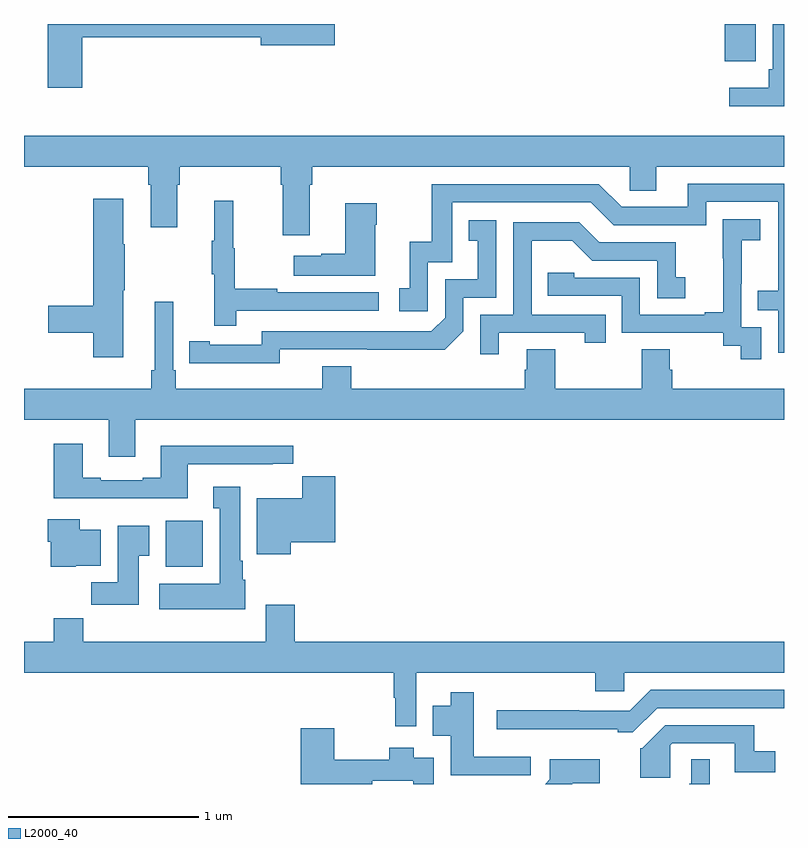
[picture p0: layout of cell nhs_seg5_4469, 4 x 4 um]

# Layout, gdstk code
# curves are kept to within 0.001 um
import gdstk
lib = gdstk.Library(unit=1e-6, precision=1e-09)
def R(c, l, rs):  # rectangles x0, y0, x1, y1
    for r in rs: c.add(gdstk.rectangle(r[:2], r[2:], *l))
def P(c, l, *ps):  # polygons
    for p in ps: c.add(gdstk.Polygon(p, *l))
L2000_40 = (2000, 40)

nhs_seg5_4469 = lib.new_cell('nhs_seg5_4469')
R(nhs_seg5_4469, L2000_40, [(373.745,899.942,373.942,900.184), (376.688,902.603,376.852,902.799)])
P(nhs_seg5_4469, L2000_40, [(377,902.799),(376.941,902.799),(376.941,902.56),(376.921,902.56),(376.921,902.464),(376.713,902.464),(376.713,902.366),(377,902.366)],
  [(373.307,902.728),(374.246,902.728),(374.246,902.686),(374.635,902.686),(374.635,902.799),(373.124,902.799),(373.124,902.463),(373.307,902.463)],
  [(374.503,901.952),(374.516,901.952),(374.516,902.048),(376.188,902.048),(376.188,901.921),(376.327,901.921),(376.327,902.048),(377,902.048),(377,902.212),(373,902.212),(373,902.048),(373.655,902.048),(373.655,901.952),(373.667,901.952),(373.667,901.728),(373.807,901.728),(373.807,901.952),(373.82,901.952),(373.82,902.048),(374.351,902.048),(374.351,901.952),(374.363,901.952),(374.363,901.686),(374.503,901.686)],
  [(377,901.959),(376.493,901.959),(376.493,901.836),(376.146,901.836),(376.026,901.956),(375.147,901.956),(375.147,901.654),(375.029,901.654),(375.029,901.407),(374.976,901.407),(374.976,901.287),(375.126,901.287),(375.126,901.545),(375.255,901.545),(375.255,901.86),(375.984,901.86),(376.104,901.74),(376.59,901.74),(376.59,901.863),(376.971,901.863),(376.971,901.394),(376.861,901.394),(376.861,901.293),(376.971,901.293),(376.971,901.068),(377,901.068)],
  [(373.522,901.399),(373.53,901.399),(373.53,901.64),(373.522,901.64),(373.522,901.879),(373.364,901.879),(373.364,901.316),(373.128,901.316),(373.128,901.174),(373.364,901.174),(373.364,901.044),(373.522,901.044)],
  [(374.117,901.29),(374.866,901.29),(374.866,901.386),(374.333,901.386),(374.333,901.406),(374.11,901.406),(374.11,901.62),(374.102,901.62),(374.102,901.87),(374,901.87),(374,901.657),(373.989,901.657),(373.989,901.483),(374,901.483),(374,901.212),(374.117,901.212)],
  [(374.848,901.742),(374.856,901.742),(374.856,901.855),(374.69,901.855),(374.69,901.589),(374.564,901.589),(374.564,901.579),(374.421,901.579),(374.421,901.475),(374.848,901.475)],
  [(376.881,901.203),(376.776,901.203),(376.776,901.433),(376.778,901.433),(376.778,901.661),(376.876,901.661),(376.876,901.771),(376.678,901.771),(376.678,901.565),(376.679,901.565),(376.679,901.282),(376.583,901.282),(376.583,901.269),(376.242,901.269),(376.242,901.464),(375.897,901.464),(375.897,901.491),(375.757,901.491),(375.757,901.368),(376.146,901.368),(376.146,901.173),(376.68,901.173),(376.68,901.105),(376.773,901.105),(376.773,901.035),(376.881,901.035)],
  [(374.346,901.086),(375.214,901.085),(375.312,901.182),(375.312,901.359),(375.486,901.359),(375.486,901.765),(375.34,901.765),(375.34,901.659),(375.389,901.659),(375.389,901.455),(375.216,901.455),(375.216,901.254),(375.144,901.182),(374.25,901.182),(374.25,901.11),(373.978,901.11),(373.978,901.13),(373.87,901.13),(373.87,901.014),(374.346,901.013)],
  [(375.499,901.173),(375.95,901.173),(375.95,901.122),(376.061,901.122),(376.061,901.269),(375.672,901.269),(375.672,901.658),(375.886,901.658),(375.99,901.554),(376.332,901.554),(376.332,901.356),(376.48,901.356),(376.48,901.465),(376.431,901.465),(376.431,901.65),(376.027,901.65),(375.922,901.755),(375.576,901.755),(375.576,901.269),(375.402,901.269),(375.402,901.062),(375.499,901.062)],
  [(373.585,900.716),(377,900.716),(377,900.88),(376.412,900.88),(376.412,900.978),(376.399,900.978),(376.399,901.088),(376.252,901.088),(376.252,900.88),(375.795,900.88),(375.795,901.088),(375.647,901.088),(375.647,900.978),(375.635,900.978),(375.635,900.88),(374.723,900.88),(374.723,900.997),(374.57,900.997),(374.57,900.88),(373.799,900.88),(373.799,900.976),(373.785,900.976),(373.785,901.336),(373.688,901.336),(373.688,900.976),(373.669,900.976),(373.669,900.88),(373,900.88),(373,900.716),(373.445,900.716),(373.445,900.522),(373.585,900.522)],
  [(373.861,900.483),(374.309,900.483),(374.309,900.485),(374.418,900.485),(374.418,900.58),(373.721,900.58),(373.721,900.412),(373.625,900.412),(373.625,900.399),(373.405,900.399),(373.405,900.412),(373.309,900.412),(373.309,900.589),(373.157,900.589),(373.157,900.302),(373.861,900.302)],
  [(374.404,900.071),(374.639,900.071),(374.639,900.42),(374.465,900.42),(374.465,900.304),(374.225,900.304),(374.225,900.008),(374.404,900.008)],
  [(374.164,899.874),(374.152,899.874),(374.152,899.974),(374.137,899.974),(374.137,900.364),(373.997,900.364),(373.997,900.251),(374.03,900.251),(374.03,899.854),(373.713,899.854),(373.713,899.72),(374.164,899.72)],
  [(373.272,899.948),(373.405,899.948),(373.405,900.136),(373.294,900.136),(373.294,900.193),(373.124,900.193),(373.124,900.075),(373.142,900.075),(373.142,899.942),(373.272,899.942)],
  [(373.603,900.001),(373.66,900.001),(373.66,900.157),(373.493,900.157),(373.493,899.86),(373.354,899.86),(373.354,899.742),(373.603,899.742)],
  [(374.426,899.743),(374.273,899.743),(374.273,899.548),(373.313,899.548),(373.313,899.672),(373.157,899.672),(373.157,899.548),(373,899.548),(373,899.384),(374.947,899.384),(374.947,899.252),(374.955,899.252),(374.955,899.103),(375.065,899.103),(375.065,899.384),(376.007,899.384),(376.007,899.286),(376.158,899.286),(376.158,899.384),(377,899.384),(377,899.548),(374.426,899.548)],
  [(376.332,899.199),(377,899.199),(377,899.295),(376.299,899.295),(376.188,899.184),(375.923,899.184),(375.923,899.186),(375.489,899.186),(375.489,899.087),(376.124,899.087),(376.124,899.072),(376.205,899.072)],
  [(375.667,898.942),(375.367,898.942),(375.367,899.281),(375.245,899.281),(375.245,899.212),(375.152,899.212),(375.152,899.054),(375.245,899.054),(375.245,898.845),(375.667,898.845)],
  [(376.402,899.002),(376.413,899.013),(376.742,899.013),(376.742,898.862),(376.954,898.862),(376.954,898.972),(376.844,898.972),(376.844,899.109),(376.376,899.109),(376.254,898.987),(376.244,898.987),(376.244,898.832),(376.402,898.832)],
  [(374.834,898.816),(375.048,898.816),(375.048,898.799),(375.156,898.799),(375.156,898.936),(375.052,898.936),(375.052,898.99),(374.923,898.99),(374.923,898.927),(374.634,898.927),(374.634,899.092),(374.456,899.092),(374.456,898.799),(374.834,898.799)],
  [(375.888,898.802),(376.03,898.802),(376.03,898.93),(375.768,898.93),(375.768,898.824),(375.743,898.799),(375.885,898.799)],
  [(376.609,898.928),(376.512,898.928),(376.512,898.8),(376.5,898.8),(376.5,898.799),(376.609,898.799)])

lib.write_gds('nhs_seg5_4469.gds')
